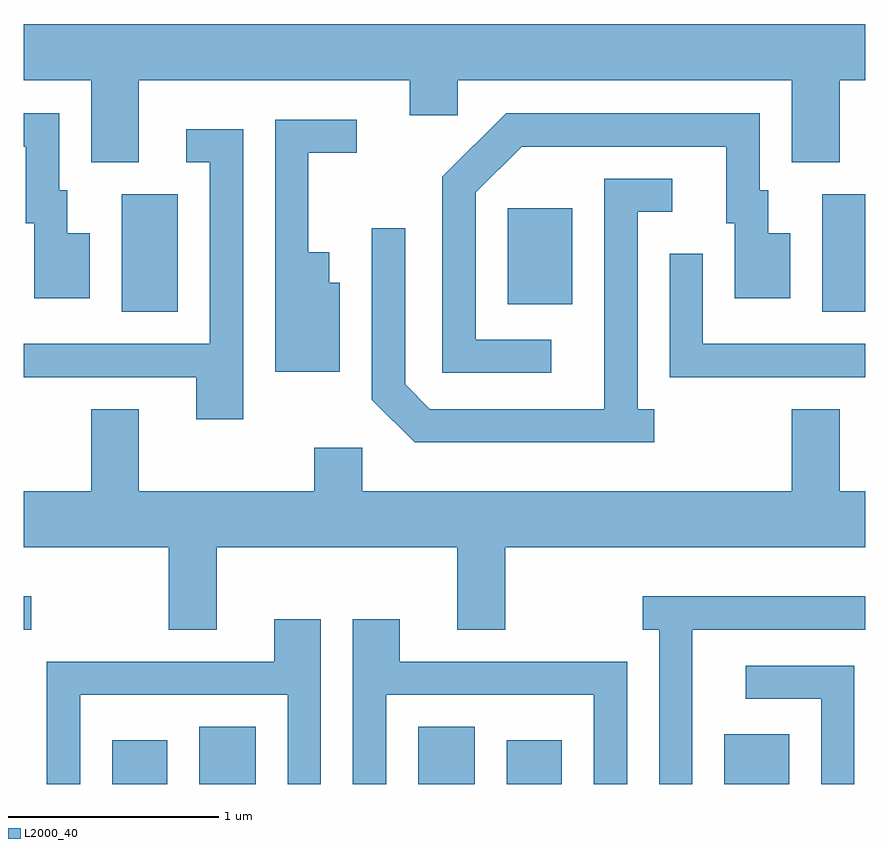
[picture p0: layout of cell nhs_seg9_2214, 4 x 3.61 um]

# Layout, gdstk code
import gdstk
lib = gdstk.Library(unit=1e-6, precision=1e-09)
def R(c, l, rs):  # rectangles x0, y0, x1, y1
    for r in rs: c.add(gdstk.rectangle(r[:2], r[2:], *l))
def P(c, l, *ps):  # polygons
    for p in ps: c.add(gdstk.Polygon(p, *l))
L2000_40 = (2000, 40)

nhs_seg9_2214 = lib.new_cell('nhs_seg9_2214')
R(nhs_seg9_2214, L2000_40, [(250.031,2028.432,250.294,2028.639), (250.446,2028.432,250.714,2028.704), (251.486,2028.432,251.754,2028.704), (251.906,2028.432,252.169,2028.639), (252.941,2028.432,253.249,2028.669), (249.611,2029.166,249.648,2029.324), (250.076,2030.676,250.344,2031.234), (253.406,2030.676,253.611,2031.234), (251.911,2030.711,252.219,2031.169)])
P(nhs_seg9_2214, L2000_40, [(250.159,2031.776),(251.446,2031.776),(251.446,2031.611),(251.674,2031.611),(251.674,2031.776),(253.261,2031.776),(253.261,2031.386),(253.489,2031.386),(253.489,2031.776),(253.611,2031.776),(253.611,2032.044),(249.611,2032.044),(249.611,2031.776),(249.931,2031.776),(249.931,2031.386),(250.159,2031.386)],
  [(249.924,2031.049),(249.819,2031.049),(249.819,2031.254),(249.779,2031.254),(249.779,2031.619),(249.611,2031.619),(249.611,2031.461),(249.621,2031.461),(249.621,2031.096),(249.661,2031.096),(249.661,2030.741),(249.924,2030.741)],
  [(252.118,2030.544),(251.759,2030.544),(251.759,2031.244),(251.977,2031.461),(252.951,2031.461),(252.951,2031.096),(252.991,2031.096),(252.991,2030.741),(253.254,2030.741),(253.254,2031.049),(253.149,2031.049),(253.149,2031.254),(253.109,2031.254),(253.109,2031.619),(251.904,2031.619),(251.601,2031.317),(251.601,2030.386),(252.118,2030.386)],
  [(251.114,2030.814),(251.064,2030.814),(251.064,2030.959),(250.964,2030.959),(250.964,2031.431),(251.193,2031.431),(251.193,2031.589),(250.806,2031.589),(250.806,2030.391),(251.114,2030.391)],
  [(250.654,2031.544),(250.383,2031.544),(250.383,2031.386),(250.496,2031.386),(250.496,2030.524),(249.611,2030.524),(249.611,2030.366),(250.431,2030.366),(250.431,2030.166),(250.654,2030.166)],
  [(252.608,2030.214),(252.529,2030.214),(252.529,2031.151),(252.693,2031.151),(252.693,2031.309),(252.371,2031.309),(252.371,2030.214),(251.542,2030.214),(251.424,2030.332),(251.424,2031.073),(251.266,2031.073),(251.266,2030.259),(251.469,2030.056),(252.608,2030.056)],
  [(253.611,2030.524),(252.839,2030.524),(252.839,2030.953),(252.681,2030.953),(252.681,2030.366),(253.611,2030.366)],
  [(250.529,2029.556),(251.671,2029.556),(251.671,2029.166),(251.899,2029.166),(251.899,2029.556),(253.611,2029.556),(253.611,2029.824),(253.489,2029.824),(253.489,2030.214),(253.261,2030.214),(253.261,2029.824),(251.219,2029.824),(251.219,2030.029),(250.991,2030.029),(250.991,2029.824),(250.159,2029.824),(250.159,2030.214),(249.931,2030.214),(249.931,2029.824),(249.611,2029.824),(249.611,2029.556),(250.301,2029.556),(250.301,2029.166),(250.529,2029.166)],
  [(252.789,2029.166),(253.611,2029.166),(253.611,2029.324),(252.553,2029.324),(252.553,2029.166),(252.631,2029.166),(252.631,2028.432),(252.789,2028.432)],
  [(249.879,2028.856),(250.866,2028.856),(250.866,2028.432),(251.024,2028.432),(251.024,2029.214),(250.801,2029.214),(250.801,2029.014),(249.721,2029.014),(249.721,2028.432),(249.879,2028.432)],
  [(251.334,2028.856),(252.321,2028.856),(252.321,2028.432),(252.479,2028.432),(252.479,2029.014),(251.399,2029.014),(251.399,2029.214),(251.176,2029.214),(251.176,2028.432),(251.334,2028.432)],
  [(253.559,2028.994),(253.043,2028.994),(253.043,2028.836),(253.401,2028.836),(253.401,2028.432),(253.559,2028.432)])

lib.write_gds('nhs_seg9_2214.gds')
